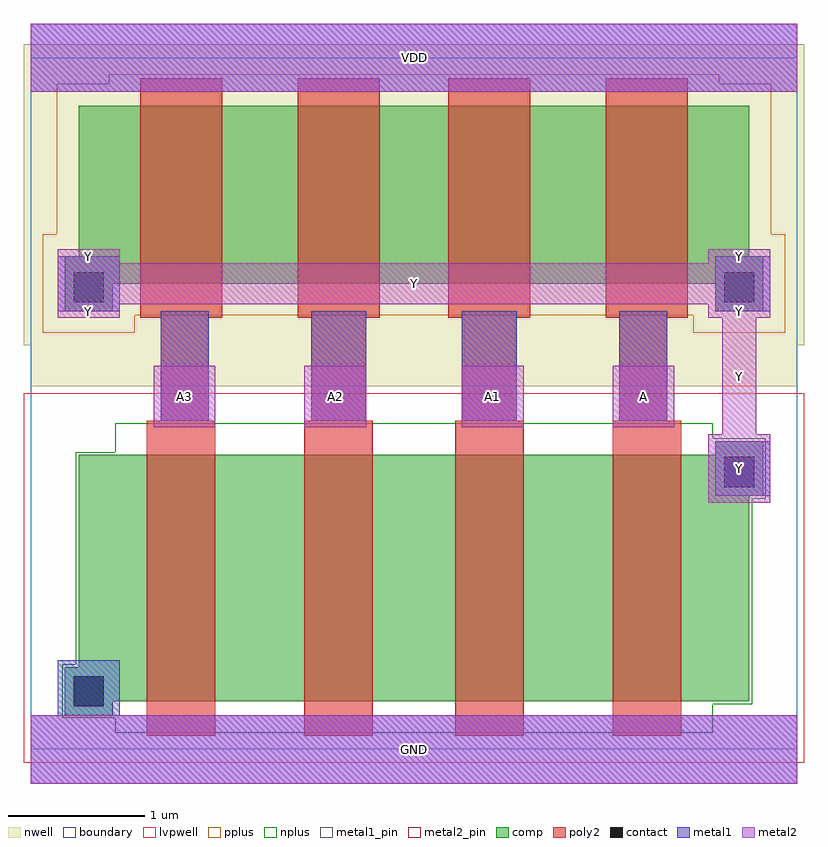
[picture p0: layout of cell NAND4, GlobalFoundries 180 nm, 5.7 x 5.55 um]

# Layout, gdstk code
import gdstk
lib = gdstk.Library(unit=1e-6, precision=1e-09)
def R(c, l, rs):  # rectangles x0, y0, x1, y1
    for r in rs: c.add(gdstk.rectangle(r[:2], r[2:], *l))
boundary = (0, 0)
nwell = (21, 0)
comp = (22, 0)
poly2 = (30, 0)
pplus = (31, 0)
nplus = (32, 0)
contact = (33, 0)
metal1 = (34, 0)
metal1_pin = (34, 10)
metal2 = (36, 0)
metal2_pin = (36, 10)
lvpwell = (204, 0)

nand4 = lib.new_cell('NAND4')
R(nand4, boundary, [(0,0,5.6,5.05)])
R(nand4, nwell, [(0,2.65,5.6,2.95), (-0.05,2.95,5.65,5.15)])
R(nand4, comp, [(0.25,0.25,0.6,0.35), (0.25,0.35,5.25,0.6), (0.35,0.6,5.25,1.85), (0.35,1.85,5.35,2.15), (5,2.15,5.35,2.25), (0.25,3.2,0.6,3.4), (5,3.2,5.35,3.4), (0.25,3.4,5.35,3.6), (0.35,3.6,5.25,4.7)])
R(nand4, poly2, [(0.85,0.1,1.35,2.4), (2,0.1,2.5,2.4), (3.1,0.1,3.6,2.4), (4.25,0.1,4.75,2.4), (0.95,2.4,1.3,3.15), (2.05,2.4,2.45,3.15), (3.15,2.4,3.55,3.15), (4.3,2.4,4.65,3.15), (0.8,3.15,1.4,4.9), (1.95,3.15,2.55,4.9), (3.05,3.15,3.65,4.9), (4.2,3.15,4.8,4.9)])
R(nand4, pplus, [(0.09,3.04,0.76,3.17), (4.84,3.04,5.51,3.17), (0.09,3.17,5.51,3.76), (0.19,3.76,5.41,4.86), (0.57,4.86,5.03,4.93)])
R(nand4, nplus, [(0.62,0.12,4.98,0.23), (0.23,0.23,4.98,0.33), (0.23,0.33,5.27,0.62), (0.33,0.62,5.27,1.83), (0.33,1.83,5.37,2.17), (0.62,2.17,5.37,2.27), (0.62,2.27,4.98,2.38)])
R(nand4, contact, [(0.315,0.315,0.535,0.535), (5.065,1.915,5.285,2.135), (0.315,3.265,0.535,3.485), (5.065,3.265,5.285,3.485)])
R(nand4, metal1, [(0,-0.25,5.6,0.25), (0.2,0.25,0.65,0.65), (5,1.85,5.4,2.25), (0.95,2.4,1.3,3.2), (2.05,2.4,2.45,3.2), (3.15,2.4,3.55,3.2), (4.3,2.4,4.65,3.2), (0.2,3.2,0.65,3.6), (5,3.2,5.4,3.6), (0,4.8,5.6,5.3)])
R(nand4, metal1_pin, [(0,-0.25,5.6,0.25), (0,4.8,5.6,5.3)])
R(nand4, metal2, [(0,-0.25,5.6,0.25), (4.95,1.8,5.4,2.3), (5.05,2.3,5.3,3.15), (0.9,2.35,1.35,2.8), (2,2.35,2.45,2.8), (3.15,2.35,3.6,2.8), (4.25,2.35,4.7,2.8), (0.2,3.15,0.65,3.25), (4.95,3.15,5.4,3.25), (0.2,3.25,5.4,3.55), (0.2,3.55,0.65,3.65), (4.95,3.55,5.4,3.65), (0,4.8,5.6,5.3)])
R(nand4, metal2_pin, [(4.95,1.8,5.4,2.3), (5.05,2.3,5.3,3.15), (0.9,2.35,1.35,2.8), (2,2.35,2.45,2.8), (3.15,2.35,3.6,2.8), (4.25,2.35,4.7,2.8), (0.2,3.15,0.65,3.25), (4.95,3.15,5.4,3.25), (0.2,3.25,5.4,3.55), (0.2,3.55,0.65,3.65), (4.95,3.55,5.4,3.65)])
R(nand4, lvpwell, [(-0.05,-0.1,5.65,2.6)])
nand4.add(gdstk.Label('VDD', (2.8,5.05), layer=34, texttype=10))
nand4.add(gdstk.Label('GND', (2.8,0), layer=34, texttype=10))
nand4.add(gdstk.Label('Y', (5.175,2.05), layer=36, texttype=10))
nand4.add(gdstk.Label('Y', (5.175,2.725), layer=36, texttype=10))
nand4.add(gdstk.Label('Y', (0.425,3.2), layer=36, texttype=10))
nand4.add(gdstk.Label('Y', (5.175,3.2), layer=36, texttype=10))
nand4.add(gdstk.Label('Y', (2.8,3.4), layer=36, texttype=10))
nand4.add(gdstk.Label('Y', (0.425,3.6), layer=36, texttype=10))
nand4.add(gdstk.Label('Y', (5.175,3.6), layer=36, texttype=10))
nand4.add(gdstk.Label('A', (4.475,2.575), layer=36, texttype=10))
nand4.add(gdstk.Label('A3', (1.125,2.575), layer=36, texttype=10))
nand4.add(gdstk.Label('A1', (3.375,2.575), layer=36, texttype=10))
nand4.add(gdstk.Label('A2', (2.225,2.575), layer=36, texttype=10))

lib.write_gds('NAND4.gds')
